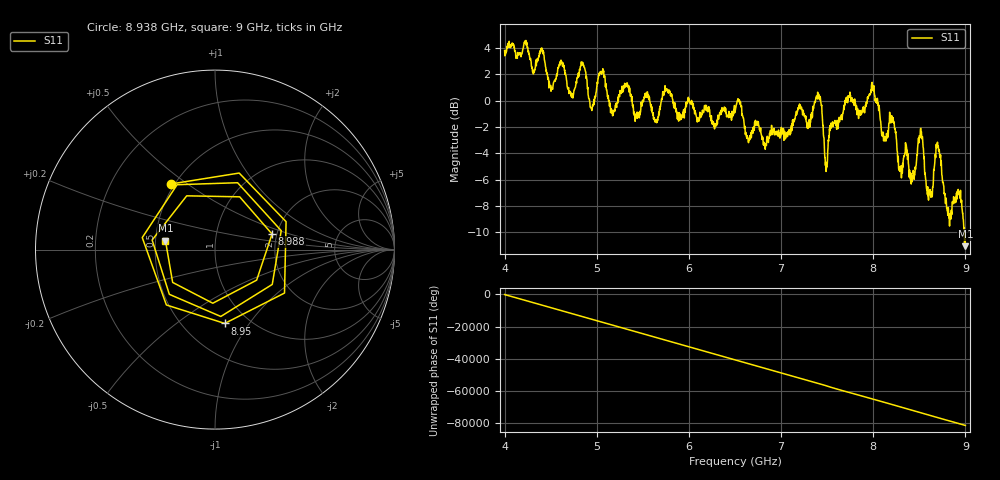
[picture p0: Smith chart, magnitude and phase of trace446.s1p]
! Created with skrf 1.8.0 (http://scikit-rf.org).
# Hz S RI R 50.0
!freq ReS11 ImS11
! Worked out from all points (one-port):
!   1601 points, 4 GHz to 9 GHz, reference 50 ohm
!   lowest |S11| = -11.0 dB at 9 GHz (marker M1), VSWR 1.78, Z = 28.3 + j3.06 ohm
!   |S11| at or under -10 dB: 8.988913 GHz to end of sweep
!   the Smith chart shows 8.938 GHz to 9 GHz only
!   S11 on the Smith chart (normalised r, x): 8.938 GHz: 0.48, +0.44; 8.95 GHz: 0.78, -0.77; 8.988 GHz: 1.89, +0.37; 9 GHz: 0.57, +0.06
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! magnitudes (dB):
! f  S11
! 4 GHz  3.8
! 4.506 GHz  0.8
! 4.625 GHz  2.9
! 4.722 GHz  0.5
! 4.856 GHz  2.7
! 4.944 GHz  -0.7
! 5.05 GHz  2.2
! 5.162 GHz  -0.8
! 5.25 GHz  0.5
! 5.875 GHz  -1.4
! 6.5 GHz  -0.6
! 6.819 GHz  -3.4
! 7.125 GHz  -1.5
! 7.403 GHz  0.1
! 7.491 GHz  -5.2
! 7.75 GHz  0.3
! 7.994 GHz  0.9
! 8.112 GHz  -3.1
! 8.375 GHz  -4.2
! 8.428 GHz  -5.7
! 8.516 GHz  -2.1
! 8.619 GHz  -7.2
! 8.706 GHz  -3.5
! 8.819 GHz  -8.7
! 8.938 GHz  -7.1
! 8.95 GHz  -7.6
! 8.988 GHz  -9.6
! 9 GHz  -11.0
